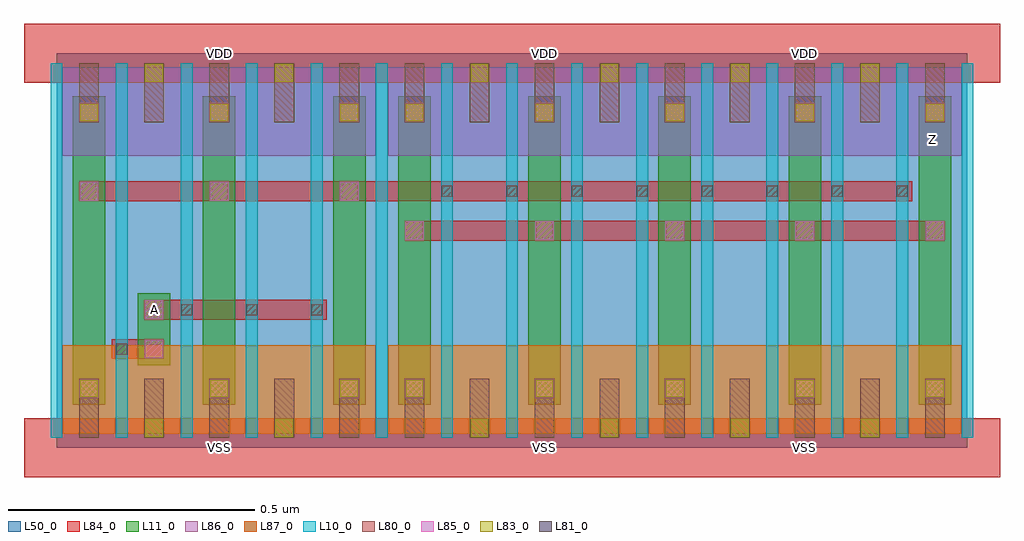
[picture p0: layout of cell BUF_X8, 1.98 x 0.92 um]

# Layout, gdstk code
import gdstk
lib = gdstk.Library(unit=1e-6, precision=1e-09)
def R(c, l, rs):  # rectangles x0, y0, x1, y1
    for r in rs: c.add(gdstk.rectangle(r[:2], r[2:], *l))
def A(c, l, x, y, w, h, nx, ny, dx, dy):  # array of equal rectangles
    R(c, l, [(x+i*dx, y+j*dy, x+i*dx+w, y+j*dy+h) for i in range(nx) for j in range(ny)])
L10_0 = (10, 0)
L11_0 = (11, 0)
L50_0 = (50, 0)
L80_0 = (80, 0)
L81_0 = (81, 0)
L83_0 = (83, 0)
L84_0 = (84, 0)
L85_0 = (85, 0)
L86_0 = (86, 0)
L87_0 = (87, 0)

buf_x8 = lib.new_cell('BUF_X8')
A(buf_x8, L10_0, -0.012, 0.02, 0.024, 0.76, 6, 1, 0.132, 0)
A(buf_x8, L10_0, 0.648, 0.02, 0.024, 0.76, 5, 1, 0.132, 0)
A(buf_x8, L10_0, 1.308, 0.02, 0.024, 0.76, 5, 1, 0.132, 0)
R(buf_x8, L10_0, [(1.176,0.02,1.2,0.78), (1.308,0.02,1.332,0.78)])
A(buf_x8, L11_0, 0.033, 0.087, 0.066, 0.626, 3, 1, 0.264, 0)
A(buf_x8, L11_0, 0.693, 0.087, 0.066, 0.626, 3, 1, 0.264, 0)
A(buf_x8, L11_0, 1.221, 0.087, 0.066, 0.626, 3, 1, 0.264, 0)
R(buf_x8, L11_0, [(0.165,0.167,0.231,0.313)])
R(buf_x8, L50_0, [(0,0,1.848,0.8)])
A(buf_x8, L80_0, 0.046, 0.02, 0.04, 0.12, 10, 2, 0.132, 0.64)
A(buf_x8, L80_0, 1.234, 0.02, 0.04, 0.12, 5, 2, 0.132, 0.64)
A(buf_x8, L81_0, 0.253, 0.269, 0.022, 0.022, 3, 1, 0.132, 0)
A(buf_x8, L81_0, 0.781, 0.509, 0.022, 0.022, 8, 1, 0.132, 0)
R(buf_x8, L81_0, [(0.121,0.189,0.143,0.211)])
A(buf_x8, L83_0, 0.84, 0.022, 0.036, 0.036, 4, 2, 0.264, 0.72)
A(buf_x8, L83_0, 0.048, 0.102, 0.036, 0.036, 3, 2, 0.264, 0.56)
A(buf_x8, L83_0, 0.708, 0.102, 0.036, 0.036, 3, 2, 0.264, 0.56)
A(buf_x8, L83_0, 1.236, 0.102, 0.036, 0.036, 3, 2, 0.264, 0.56)
R(buf_x8, L83_0, [(0.18,0.022,0.216,0.058), (0.444,0.022,0.48,0.058), (0.18,0.742,0.216,0.778), (0.444,0.742,0.48,0.778)])
A(buf_x8, L84_0, 0.046, 0.1, 0.04, 0.04, 3, 2, 0.264, 0.56)
A(buf_x8, L84_0, 0.706, 0.1, 0.04, 0.04, 3, 2, 0.264, 0.56)
A(buf_x8, L84_0, 1.234, 0.1, 0.04, 0.04, 3, 2, 0.264, 0.56)
R(buf_x8, L84_0, [(-0.066,-0.06,0.726,0.06), (0.594,-0.06,1.386,0.06), (1.122,-0.06,1.914,0.06), (0.112,0.18,0.218,0.22), (0.178,0.26,0.548,0.3), (0.706,0.42,1.274,0.46), (1.234,0.42,1.802,0.46), (0.046,0.5,0.809,0.54), (0.772,0.5,0.878,0.54), (0.838,0.5,1.419,0.54), (1.366,0.5,1.736,0.54), (-0.066,0.74,0.726,0.86), (0.594,0.74,1.386,0.86), (1.122,0.74,1.914,0.86)])
A(buf_x8, L85_0, 0.047, 0.101, 0.038, 0.038, 3, 2, 0.264, 0.4)
A(buf_x8, L85_0, 0.707, 0.101, 0.038, 0.038, 3, 2, 0.264, 0.32)
A(buf_x8, L85_0, 1.235, 0.101, 0.038, 0.038, 3, 2, 0.264, 0.32)
A(buf_x8, L85_0, 0.047, 0.661, 0.038, 0.038, 3, 1, 0.264, 0)
A(buf_x8, L85_0, 0.707, 0.661, 0.038, 0.038, 3, 1, 0.264, 0)
A(buf_x8, L85_0, 1.235, 0.661, 0.038, 0.038, 3, 1, 0.264, 0)
R(buf_x8, L85_0, [(0.179,0.181,0.217,0.219), (0.179,0.261,0.217,0.299)])
R(buf_x8, L86_0, [(0.012,0.592,0.648,0.772), (0.672,0.592,1.308,0.772), (1.2,0.592,1.836,0.772)])
R(buf_x8, L87_0, [(0.012,0.028,0.648,0.208), (0.672,0.028,1.308,0.208), (1.2,0.028,1.836,0.208)])
buf_x8.add(gdstk.Label('Z', (1.778,0.625), layer=31, texttype=0))
buf_x8.add(gdstk.Label('A', (0.198,0.28), layer=31, texttype=0))
buf_x8.add(gdstk.Label('VDD', (1.518,0.8), layer=88, texttype=0))
buf_x8.add(gdstk.Label('VSS', (1.518,0), layer=88, texttype=0))
buf_x8.add(gdstk.Label('VDD', (0.33,0.8), layer=88, texttype=0))
buf_x8.add(gdstk.Label('VSS', (0.33,0), layer=88, texttype=0))
buf_x8.add(gdstk.Label('VSS', (0.99,0), layer=88, texttype=0))
buf_x8.add(gdstk.Label('VDD', (0.99,0.8), layer=88, texttype=0))

lib.write_gds('BUF_X8.gds')
